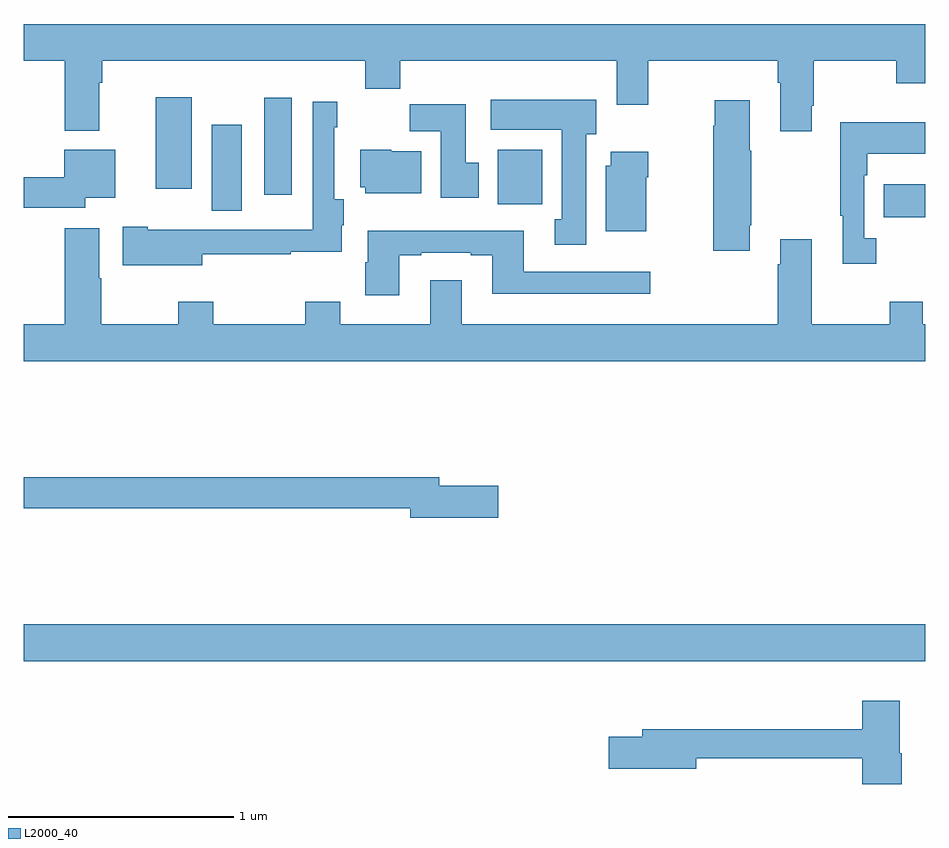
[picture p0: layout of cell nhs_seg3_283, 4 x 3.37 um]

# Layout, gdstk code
import gdstk
lib = gdstk.Library(unit=1e-6, precision=1e-09)
def R(c, l, rs):  # rectangles x0, y0, x1, y1
    for r in rs: c.add(gdstk.rectangle(r[:2], r[2:], *l))
def P(c, l, *ps):  # polygons
    for p in ps: c.add(gdstk.Polygon(p, *l))
L2000_40 = (2000, 40)

nhs_seg3_283 = lib.new_cell('nhs_seg3_283')
R(nhs_seg3_283, L2000_40, [(125,672.944,129,673.108), (128.815,674.914,129,675.061), (125.834,674.944,125.968,675.325), (127.103,674.972,127.3,675.214), (126.068,675.015,126.19,675.445), (125.585,675.042,125.746,675.448)])
P(nhs_seg3_283, L2000_40, [(128.497,675.409),(128.505,675.409),(128.505,675.608),(128.872,675.608),(128.872,675.509),(129,675.509),(129,675.772),(125,675.772),(125,675.608),(125.183,675.608),(125.183,675.299),(125.335,675.299),(125.335,675.512),(125.348,675.512),(125.348,675.608),(126.515,675.608),(126.515,675.484),(126.671,675.484),(126.671,675.608),(127.631,675.608),(127.631,675.414),(127.771,675.414),(127.771,675.608),(128.345,675.608),(128.345,675.512),(128.357,675.512),(128.357,675.297),(128.497,675.297)],
  [(127.495,675.282),(127.54,675.282),(127.54,675.436),(127.071,675.436),(127.071,675.302),(127.388,675.302),(127.388,674.906),(127.355,674.906),(127.355,674.793),(127.495,674.793)],
  [(128.221,674.878),(128.229,674.878),(128.229,675.209),(128.221,675.209),(128.221,675.433),(128.066,675.433),(128.066,675.32),(128.059,675.32),(128.059,674.766),(128.221,674.766)],
  [(125.791,674.751),(126.185,674.751),(126.185,674.761),(126.412,674.761),(126.412,674.879),(126.42,674.879),(126.42,674.995),(126.378,674.995),(126.378,675.314),(126.391,675.314),(126.391,675.427),(126.282,675.427),(126.282,674.86),(126.072,674.86),(126.072,674.859),(125.551,674.859),(125.551,674.873),(125.439,674.873),(125.439,674.702),(125.791,674.702)],
  [(127.018,675.156),(126.961,675.156),(126.961,675.415),(126.712,675.415),(126.712,675.296),(126.851,675.296),(126.851,675),(127.018,675)],
  [(128.782,674.822),(128.73,674.822),(128.73,675.101),(128.743,675.101),(128.743,675.197),(128.999,675.197),(128.999,675.337),(128.622,675.337),(128.622,674.921),(128.633,674.921),(128.633,674.709),(128.782,674.709)],
  [(126.763,675.208),(126.63,675.208),(126.63,675.214),(126.494,675.214),(126.494,675.048),(126.516,675.048),(126.516,675.02),(126.763,675.02)],
  [(125.274,675.002),(125.407,675.002),(125.407,675.214),(125.18,675.214),(125.18,675.092),(125,675.092),(125,674.956),(125.274,674.956)],
  [(127.762,675.092),(127.77,675.092),(127.77,675.205),(127.604,675.205),(127.604,675.144),(127.583,675.144),(127.583,674.852),(127.762,674.852)],
  [(128.357,674.818),(128.357,674.705),(128.345,674.705),(128.345,674.44),(126.943,674.44),(126.943,674.635),(126.803,674.635),(126.803,674.44),(126.405,674.44),(126.405,674.539),(126.25,674.539),(126.25,674.44),(125.841,674.44),(125.841,674.539),(125.686,674.539),(125.686,674.44),(125.343,674.44),(125.343,674.645),(125.335,674.645),(125.335,674.866),(125.183,674.866),(125.183,674.44),(125,674.44),(125,674.276),(129,674.276),(129,674.44),(128.989,674.44),(128.989,674.539),(128.842,674.539),(128.842,674.44),(128.497,674.44),(128.497,674.818)],
  [(126.667,674.745),(126.763,674.745),(126.763,674.757),(126.983,674.757),(126.983,674.745),(127.079,674.745),(127.079,674.576),(127.78,674.576),(127.78,674.673),(127.219,674.673),(127.219,674.854),(126.527,674.854),(126.527,674.715),(126.515,674.715),(126.515,674.568),(126.667,674.568)],
  [(127.105,673.724),(126.844,673.724),(126.844,673.76),(125,673.76),(125,673.624),(126.716,673.624),(126.716,673.582),(127.105,673.582)],
  [(128.895,672.537),(128.887,672.537),(128.887,672.769),(128.72,672.769),(128.72,672.643),(127.745,672.643),(127.745,672.609),(127.596,672.609),(127.596,672.467),(127.984,672.467),(127.984,672.514),(128.72,672.514),(128.72,672.4),(128.895,672.4)])

lib.write_gds('nhs_seg3_283.gds')
